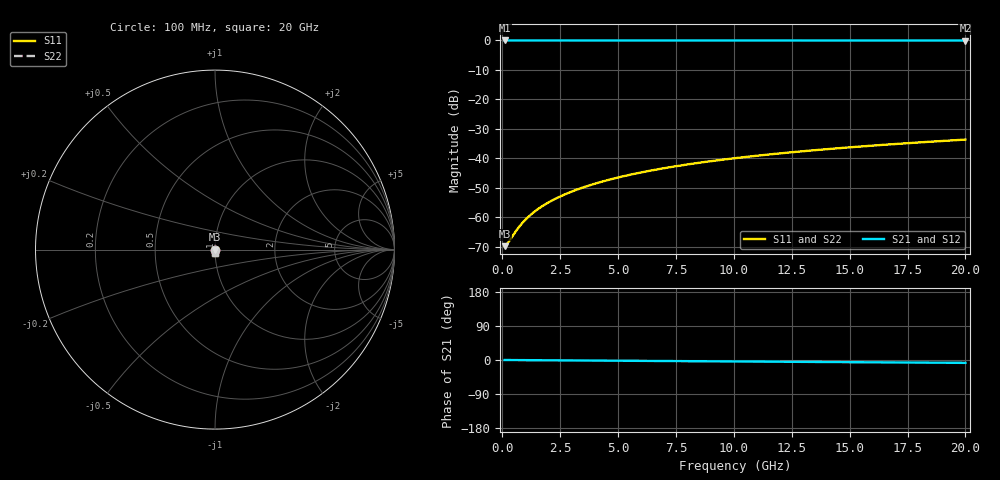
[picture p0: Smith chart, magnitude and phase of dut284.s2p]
! Touchstone file exported from HFSS 2026.1.0
!  File:  C:/ffzhzh/LocalFiles/Ansys_Project_Files/temp_train_TSV_284_1782993611_40604.aedt
!  Generated:  08:01:54 PM Jul  2, 2026
!  Design:  TSV
!  Project:  temp_train_TSV_284_1782993611_40604
! Variables:
!  h_bsmrdl = 2um
!  h_ox = 20um
!  h_rdl = 5um
!  h_sub = 81.07um
!  h_tmrdl = 5um
!  h_tsv = 81.07um
!  h_via = 3um
!  l_bsmrdl = 300um
!  l_sub = 411.52um
!  l_tmrdl = 200um
!  m_sub = 200um
!  pitch = 20.11um
!  r_tsv = 5.76um
!  s_tmrdl = 10um
!  w_bsmrdl = 18um
!  w_sub = 500um
!  w_tmrdl = 12um
!  x_tsv_center1 = 206um
!  x_tsv_center2 = 524um
!  x_tsv_center3 = 736um
!  x_tsv_center4 = 1054um
!  x_tsv_center5 = 1266um
!  x_tsv_center6 = 1584um
# GHz S MA R 50.000000
! Terminal data exported
! Port[1] = TSV1_1_T1
! Port[2] = TSV1_1_T2
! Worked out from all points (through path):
!   200 points, 100 MHz to 20 GHz, reference 50 ohm
!   highest |S21| = 0.00 dB at 100 MHz (marker M1); lowest = 0.0 dB at 20 GHz (marker M2)
!   group delay of S21, straight-line fit = 1.05 ps
!   lowest |S11| = -69.7 dB at 100 MHz (marker M3), VSWR 1.00, Z = 50 - j0.0042 ohm
!   |S11| at or under -10 dB: start of sweep to end of sweep
!   |S22| runs from -69.7 to -33.6 dB; largest |S21 - S12| = 2e-15
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0.1  0.0003266 -7.4  0.9997 -0.0  0.9997 -0.0  0.0003266 -7.4
! Gamma 0 0 0 0
! Port Impedance 50 0 50 0
0.2  0.0003557 -14.7  0.9997 -0.1  0.9997 -0.1  0.0003557 -14.7
0.3  0.0004006 -21.8  0.9996 -0.1  0.9996 -0.1  0.0004006 -21.8
0.6  0.0005959 -39.3  0.9995 -0.2  0.9995 -0.2  0.0005959 -39.3
0.7  0.0006725 -43.8  0.9995 -0.3  0.9995 -0.3  0.0006725 -43.8
0.9  0.0008342 -50.9  0.9995 -0.4  0.9995 -0.4  0.0008342 -50.9
1.2  0.001089 -58.2  0.9994 -0.5  0.9994 -0.5  0.001089 -58.2
1.5  0.001353 -63.1  0.9994 -0.6  0.9994 -0.6  0.001353 -63.1
1.9  0.001714 -67.5  0.9993 -0.7  0.9993 -0.7  0.001714 -67.5
2.4  0.002178 -71.0  0.9993 -0.9  0.9993 -0.9  0.002178 -71.0
2.9  0.002655 -73.3  0.9992 -1.1  0.9992 -1.1  0.002655 -73.3
3.5  0.003241 -75.4  0.9991 -1.4  0.9991 -1.4  0.003241 -75.4
4.2  0.003943 -77.1  0.999 -1.6  0.999 -1.6  0.003943 -77.1
5  0.004762 -78.7  0.9989 -1.9  0.9989 -1.9  0.004762 -78.7
5.9  0.0057 -80.2  0.9988 -2.3  0.9988 -2.3  0.0057 -80.2
6.8  0.006649 -81.4  0.9987 -2.6  0.9987 -2.6  0.006649 -81.4
8.3  0.008245 -83.2  0.9985 -3.2  0.9985 -3.2  0.008245 -83.2
10.1  0.01017 -85.0  0.9984 -3.9  0.9984 -3.9  0.01017 -85.0
11.7  0.01189 -86.4  0.9983 -4.5  0.9983 -4.5  0.01189 -86.4
13.4  0.01372 -87.6  0.9981 -5.1  0.9981 -5.1  0.01372 -87.6
16.7  0.01729 -89.7  0.9978 -6.4  0.9978 -6.4  0.01729 -89.7
20  0.0209 -91.5  0.9976 -7.6  0.9976 -7.6  0.0209 -91.5
